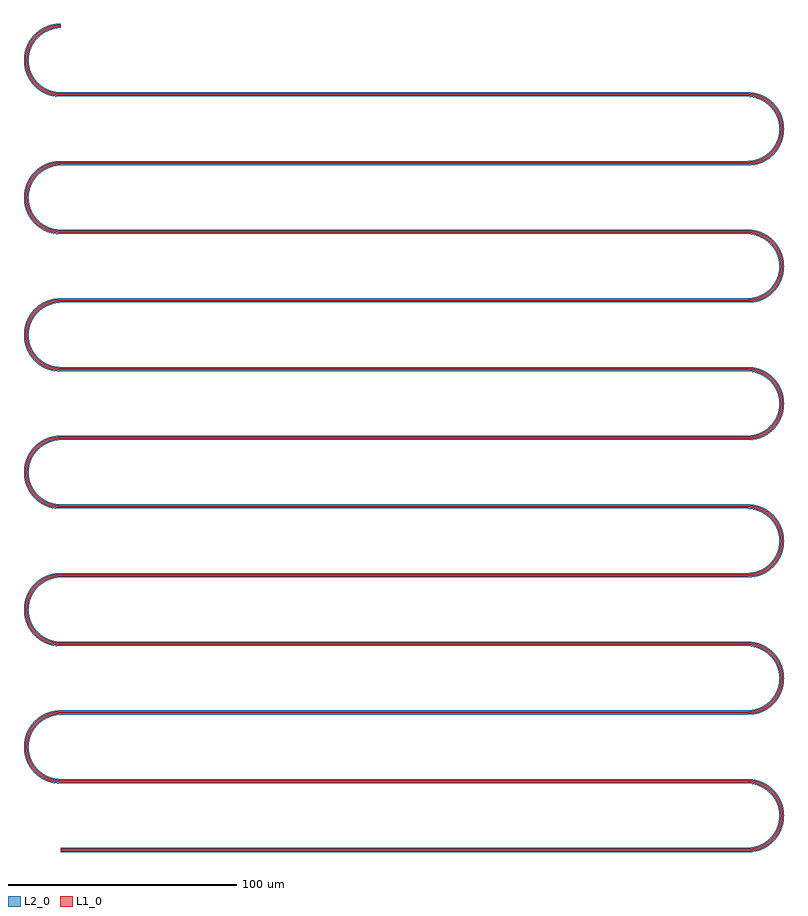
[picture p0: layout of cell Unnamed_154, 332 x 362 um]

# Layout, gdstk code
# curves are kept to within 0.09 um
import gdstk
lib = gdstk.Library(unit=1e-6, precision=1e-09)
def P(c, l, *ps):  # polygons
    for p in ps: c.add(gdstk.Polygon(p, *l))
L1_0 = (1, 0)
L2_0 = (2, 0)

unnamed_154 = lib.new_cell('Unnamed_154')
P(unnamed_154, L1_0, [(0,-0.5),(0,0.5),(300.091,0.5),(301.729,0.603),(303.388,0.901),(305.848,1.731),(307.968,2.885),(309.934,4.437),(311.631,6.341),(312.927,8.431),(313.878,10.798),(314.383,13.158),(314.483,15.706),(314.175,18.055),(313.403,20.533),(312.251,22.757),(310.733,24.75),(308.823,26.507),(306.751,27.833),(304.442,28.803),(302.09,29.349),(300.091,29.5),(-0.828,29.522),(-3.953,30.012),(-6.913,31.127),(-8.395,31.97),(-9.661,32.879),(-10.865,33.945),(-11.952,35.13),(-12.937,36.462),(-13.729,37.805),(-14.418,39.311),(-14.93,40.835),(-15.465,43.953),(-15.492,45.512),(-15.335,47.259),(-14.671,50.003),(-13.591,52.453),(-12.136,54.642),(-10.332,56.555),(-8.148,58.186),(-5.847,59.355),(-3.337,60.137),(-0.731,60.483),(301.184,60.548),(303.918,61.039),(306.508,62.042),(308.823,63.493),(310.855,65.386),(312.442,67.553),(313.618,70.019),(314.318,72.707),(314.494,75.433),(314.175,78.055),(313.368,80.617),(312.052,83.063),(310.357,85.148),(308.308,86.884),(305.931,88.232),(303.388,89.099),(300.729,89.482),(-0.097,89.5),(-2.764,89.748),(304.769,89.748),(306.562,89.043),(308.395,88.03),(309.926,86.905),(311.341,85.566),(312.52,84.138),(313.591,82.453),(314.454,80.598),(315.054,78.693),(315.362,77.065),(315.496,75.366),(315.438,73.613),(315.202,71.973),(314.271,68.95),(313.52,67.419),(312.634,66.02),(311.668,64.796),(310.44,63.543),(309.119,62.466),(307.729,61.564),(306.251,60.816),(304.702,60.23),(303.051,59.803),(301.412,59.564),(-0.547,59.49),(-3.077,59.17),(-5.47,58.429),(-7.738,57.263),(-9.699,55.779),(-11.409,53.949),(-12.758,51.892),(-13.768,49.55),(-14.352,47.068),(-14.467,44.02),(-13.955,41.06),(-12.843,38.269),(-11.21,35.802),(-9.038,33.661),(-6.508,32.042),(-3.698,30.979),(-0.729,30.518),(300.097,30.5),(302.331,30.324),(304.841,29.725),(307.346,28.649),(309.547,27.211),(311.506,25.386),(313.147,23.21),(314.346,20.87),(315.121,18.408),(315.482,15.755),(315.387,13.128),(314.821,10.461),(313.818,7.978),(312.404,5.705),(310.548,3.642),(308.477,2.023),(306.162,0.777),(303.717,-0.048),(301.945,-0.378),(300.097,-0.5)],
  [(-2.764,89.748),(-5.393,90.468),(-7.813,91.613),(-10.038,93.189),(-11.983,95.168),(-13.544,97.462),(-14.671,99.997),(-15.313,102.597),(-15.496,105.366),(-15.192,108.075),(-14.346,110.87),(-13.147,113.21),(-11.506,115.386),(-9.547,117.211),(-7.26,118.695),(-4.702,119.77),(-2.09,120.359),(-0.097,120.5),(300.729,120.518),(303.433,120.912),(306.056,121.825),(308.456,123.221),(310.547,125.049),(312.251,127.243),(313.505,129.721),(314.264,132.392),(314.499,135.205),(314.203,137.921),(313.403,140.533),(312.152,142.911),(310.453,145.05),(308.382,146.832),(305.973,148.213),(303.388,149.099),(300.729,149.482),(-0.097,149.5),(-2.09,149.641),(-4.702,150.23),(-7.13,151.237),(-9.431,152.699),(-11.341,154.434),(-13.017,156.585),(-14.271,158.95),(-15.088,161.449),(-15.477,164.147),(-15.404,166.727),(-14.877,169.352),(-13.906,171.847),(-12.491,174.178),(-10.76,176.157),(-8.72,177.815),(-6.429,179.104),(-3.906,180),(303.906,180),(302.09,179.641),(300.097,179.5),(-0.82,179.477),(-2.361,179.307),(-3.918,178.961),(-5.47,178.429),(-6.912,177.747),(-8.308,176.884),(-9.563,175.9),(-10.733,174.75),(-11.739,173.512),(-12.67,172.052),(-13.368,170.617),(-13.891,169.159),(-14.264,167.608),(-14.464,166.025),(-14.491,164.476),(-14.339,162.842),(-14.015,161.28),(-13.278,159.173),(-12.152,157.089),(-10.733,155.25),(-9.038,153.661),(-7.072,152.341),(-4.959,151.374),(-2.72,150.757),(-0.547,150.51),(301.169,150.456),(303.717,150.048),(306.162,149.223),(308.477,147.977),(310.548,146.358),(312.345,144.373),(313.729,142.195),(314.732,139.818),(315.335,137.259),(315.477,134.147),(314.994,131.071),(313.906,128.153),(313.147,126.79),(312.196,125.434),(310.038,123.189),(308.72,122.185),(307.346,121.351),(304.469,120.158),(301.412,119.564),(-0.547,119.49),(-2.988,119.189),(-5.215,118.53),(-7.427,117.454),(-9.32,116.108),(-10.975,114.477),(-12.395,112.525),(-13.488,110.322),(-14.175,108.055),(-14.5,105.114),(-14.42,103.475),(-14.175,101.945),(-13.739,100.363),(-13.146,98.882),(-12.395,97.475),(-11.549,96.232),(-10.516,95.016),(-9.39,93.951),(-8.082,92.961),(-6.751,92.167),(-3.918,91.039),(-2.361,90.693),(-0.82,90.523),(300.097,90.5),(302.427,90.309),(304.769,89.748)],
  [(-3.906,180),(-2.09,180.359),(-0.097,180.5),(300.091,180.5),(301.729,180.603),(303.3,180.88),(305.596,181.623),(307.93,182.86),(309.901,184.406),(311.549,186.232),(312.927,188.431),(313.824,190.623),(314.365,193.023),(314.491,195.524),(314.175,198.055),(313.488,200.322),(312.395,202.525),(310.855,204.614),(309.038,206.339),(306.912,207.747),(304.528,208.775),(302.09,209.349),(300.091,209.5),(-0.828,209.522),(-3.953,210.012),(-6.913,211.127),(-8.395,211.97),(-9.661,212.879),(-10.865,213.945),(-11.952,215.13),(-12.937,216.462),(-13.729,217.805),(-14.418,219.311),(-14.93,220.835),(-15.465,223.953),(-15.492,225.512),(-15.335,227.259),(-14.671,230.003),(-13.591,232.453),(-12.136,234.642),(-10.332,236.555),(-8.148,238.186),(-5.847,239.355),(-3.337,240.137),(-0.731,240.483),(301.184,240.548),(303.918,241.039),(306.344,241.961),(308.714,243.41),(310.733,245.25),(312.371,247.436),(313.538,249.806),(314.264,252.392),(314.5,255.114),(314.203,257.921),(313.403,260.533),(312.152,262.911),(310.453,265.05),(308.382,266.832),(305.973,268.213),(303.388,269.099),(300.729,269.482),(-0.097,269.5),(-2.427,269.691),(-4.769,270.252),(302.764,270.252),(304.841,269.725),(306.913,268.873),(308.84,267.732),(310.548,266.358),(312.075,264.718),(313.35,262.876),(314.346,260.87),(315.054,258.693),(315.362,257.065),(315.496,255.366),(315.438,253.613),(315.202,251.973),(314.271,248.95),(313.52,247.419),(312.634,246.02),(311.668,244.796),(310.44,243.543),(309.119,242.466),(307.729,241.564),(306.251,240.816),(304.702,240.23),(303.051,239.803),(301.412,239.564),(-0.547,239.49),(-3.077,239.17),(-5.47,238.429),(-7.738,237.263),(-9.699,235.779),(-11.409,233.949),(-12.801,231.811),(-13.782,229.507),(-14.365,226.977),(-14.464,223.975),(-13.955,221.06),(-12.843,218.269),(-11.21,215.802),(-9.038,213.661),(-6.508,212.042),(-3.698,210.979),(-0.729,210.518),(300.097,210.5),(302.331,210.324),(304.841,209.725),(307.346,208.649),(309.547,207.211),(311.506,205.386),(313.017,203.415),(314.29,201.005),(315.11,198.456),(315.477,195.853),(315.404,193.273),(314.877,190.648),(313.906,188.153),(312.491,185.822),(310.76,183.843),(308.72,182.185),(306.429,180.896),(303.906,180)],
  [(-4.769,270.252),(-7.26,271.305),(-9.431,272.699),(-11.341,274.434),(-12.937,276.462),(-14.213,278.816),(-15.054,281.307),(-15.458,283.856),(-15.438,286.387),(-14.994,288.929),(-14.094,291.451),(-12.801,293.74),(-11.14,295.778),(-9.315,297.389),(-7.087,298.785),(-4.702,299.77),(-2.09,300.359),(-0.097,300.5),(300.729,300.518),(303.388,300.901),(305.931,301.768),(308.308,303.116),(310.357,304.852),(312.052,306.937),(313.368,309.383),(314.175,311.945),(314.494,314.567),(314.318,317.293),(313.602,320.024),(312.395,322.525),(310.64,324.851),(308.604,326.672),(306.138,328.137),(303.61,329.044),(300.729,329.482),(-0.097,329.5),(-2.09,329.641),(-4.841,330.275),(-7.346,331.351),(-9.661,332.879),(-11.668,334.796),(-13.25,336.956),(-14.489,339.493),(-15.256,342.26),(-15.5,344.878),(-15.265,347.692),(-14.574,350.278),(-13.448,352.708),(-11.827,355.019),(-9.851,356.967),(-7.602,358.508),(-5.026,359.663),(-2.331,360.324),(0,360.5),(0,359.5),(-1.729,359.397),(-3.3,359.12),(-4.831,358.672),(-6.344,358.039),(-7.815,357.214),(-9.145,356.253),(-10.357,355.148),(-11.409,353.949),(-12.758,351.892),(-13.739,349.637),(-14.318,347.293),(-14.499,344.795),(-14.23,342.213),(-13.538,339.806),(-12.395,337.475),(-10.855,335.386),(-8.967,333.605),(-6.751,332.167),(-4.355,331.169),(-1.955,330.632),(-0.091,330.5),(300.731,330.483),(303.337,330.137),(305.847,329.355),(308.148,328.186),(310.332,326.555),(312.136,324.642),(313.591,322.453),(314.671,320.003),(315.335,317.259),(315.482,315.755),(315.477,314.147),(315.313,312.597),(314.994,311.071),(314.523,309.584),(313.906,308.153),(313.147,306.79),(312.196,305.434),(311.14,304.222),(310.038,303.189),(308.72,302.185),(307.346,301.351),(305.937,300.682),(304.469,300.158),(302.955,299.784),(301.412,299.564),(-0.547,299.49),(-2.72,299.243),(-4.959,298.626),(-7.072,297.659),(-9.038,296.339),(-10.733,294.75),(-12.152,292.911),(-13.278,290.827),(-14.015,288.72),(-14.339,287.158),(-14.491,285.524),(-14.464,283.975),(-14.264,282.392),(-13.891,280.841),(-13.368,279.383),(-12.67,277.948),(-11.739,276.488),(-10.733,275.25),(-9.563,274.1),(-8.308,273.116),(-6.912,272.253),(-5.47,271.571),(-3.918,271.039),(-2.361,270.693),(-0.82,270.523),(300.097,270.5),(302.764,270.252)])
P(unnamed_154, L2_0, [(0,-1),(0,1),(300.088,1),(301.713,1.105),(303.357,1.408),(305.606,2.171),(307.73,3.327),(309.655,4.862),(311.256,6.675),(312.521,8.736),(313.412,10.985),(313.898,13.309),(313.979,15.77),(313.648,18.121),(312.907,20.424),(311.805,22.527),(310.363,24.414),(308.588,26.057),(306.557,27.37),(304.372,28.3),(302.018,28.854),(300.088,29),(-0.805,29.02),(-4.032,29.516),(-7.136,30.679),(-9.934,32.457),(-12.305,34.773),(-14.172,37.573),(-15.412,40.701),(-15.967,43.969),(-15.844,47.232),(-15.208,49.973),(-14.125,52.516),(-12.621,54.835),(-10.74,56.86),(-8.496,58.558),(-6.129,59.78),(-3.445,60.625),(-0.654,60.987),(301.187,61.05),(303.698,61.497),(306.244,62.469),(308.448,63.836),(310.422,65.652),(312.013,67.81),(313.163,70.232),(313.831,72.829),(313.991,75.506),(313.648,78.121),(312.838,80.586),(311.537,82.931),(309.814,84.985),(307.803,86.624),(305.525,87.864),(303.014,88.672),(300.484,88.992),(-0.101,89),(-2.007,89.126),(-3.983,89.504),(306.756,89.504),(308.325,88.664),(309.775,87.667),(311.035,86.586),(312.305,85.227),(313.382,83.771),(314.287,82.203),(314.992,80.59),(315.503,78.959),(315.844,77.232),(315.99,75.579),(315.953,73.768),(315.73,72.073),(315.328,70.411),(314.751,68.802),(314.005,67.263),(313.099,65.812),(312.011,64.429),(310.74,63.14),(308.022,61.156),(306.499,60.379),(304.901,59.769),(303.297,59.343),(301.457,59.066),(-0.484,58.992),(-2.885,58.7),(-5.2,57.999),(-7.396,56.887),(-9.365,55.407),(-10.989,53.675),(-12.318,51.654),(-13.307,49.351),(-13.851,47.04),(-13.974,44.142),(-13.509,41.323),(-12.441,38.579),(-10.879,36.188),(-8.761,34.08),(-6.323,32.509),(-3.613,31.474),(-0.792,31.022),(300.101,31),(302.356,30.826),(304.997,30.2),(307.494,29.137),(309.775,27.667),(311.809,25.796),(313.437,23.687),(314.751,21.198),(315.575,18.665),(315.976,15.88),(315.895,13.168),(315.328,10.411),(314.332,7.887),(312.894,5.526),(311.035,3.414),(308.96,1.744),(306.499,0.379),(303.934,-0.509),(302.007,-0.874),(300.101,-1)],
  [(-3.983,89.504),(-6.59,90.42),(-9.043,91.8),(-11.18,93.554),(-12.894,95.526),(-14.332,97.887),(-15.328,100.411),(-15.895,103.168),(-15.976,105.88),(-15.575,108.665),(-14.751,111.198),(-13.437,113.687),(-11.809,115.796),(-9.775,117.667),(-7.494,119.137),(-4.997,120.2),(-2.356,120.826),(-0.101,121),(300.484,121.008),(303.229,121.377),(305.767,122.243),(308.165,123.627),(310.123,125.329),(311.805,127.473),(313.007,129.821),(313.772,132.482),(313.999,135.198),(313.722,137.777),(312.941,140.342),(311.685,142.712),(310.062,144.735),(307.949,146.525),(305.606,147.829),(303.143,148.643),(300.484,148.992),(-0.101,149),(-2.257,149.16),(-4.901,149.769),(-7.271,150.747),(-9.575,152.181),(-11.569,153.947),(-13.214,155.978),(-14.527,158.295),(-15.412,160.701),(-15.917,163.368),(-15.967,166.031),(-15.575,168.665),(-14.751,171.198),(-13.598,173.432),(-12.011,175.571),(-10.052,177.449),(-7.935,178.894),(-5.567,180),(305.567,180),(302.853,179.256),(300.101,179),(-0.792,178.978),(-3.698,178.503),(-6.557,177.37),(-9.167,175.582),(-11.23,173.36),(-12.058,172.114),(-12.838,170.586),(-13.722,167.777),(-13.999,164.802),(-13.618,161.75),(-12.907,159.576),(-11.805,157.473),(-10.422,155.652),(-8.829,154.135),(-6.866,152.799),(-4.83,151.859),(-2.626,151.248),(-0.484,151.008),(301.257,150.951),(303.934,150.509),(306.499,149.621),(308.792,148.368),(310.925,146.69),(312.774,144.635),(314.172,142.427),(315.208,139.973),(315.822,137.381),(315.976,134.12),(315.465,130.895),(314.332,127.887),(312.621,125.165),(310.4,122.841),(307.759,121.007),(306.222,120.259),(304.613,119.679),(301.457,119.066),(-0.484,118.992),(-2.885,118.7),(-5.2,117.999),(-7.322,116.933),(-9.167,115.582),(-10.879,113.812),(-12.168,111.924),(-13.118,109.892),(-13.756,107.604),(-13.994,104.582),(-13.597,101.664),(-12.599,98.894),(-10.989,96.325),(-8.999,94.275),(-6.479,92.589),(-3.698,91.497),(-0.792,91.022),(300.101,91),(301.808,90.898),(303.592,90.592),(306.756,89.504)],
  [(-5.567,180),(-2.853,180.744),(-0.101,181),(300.088,181),(303.229,181.377),(305.606,182.171),(307.73,183.327),(309.495,184.712),(311.124,186.499),(312.421,188.54),(313.334,190.732),(313.875,193.134),(313.991,195.506),(313.686,197.95),(312.974,200.261),(311.805,202.527),(310.363,204.414),(308.588,206.057),(306.557,207.37),(304.372,208.3),(302.018,208.854),(300.088,209),(-0.805,209.02),(-4.032,209.516),(-7.136,210.679),(-9.934,212.457),(-12.305,214.773),(-14.172,217.573),(-15.412,220.701),(-15.967,223.969),(-15.844,227.232),(-15.208,229.973),(-14.125,232.516),(-12.621,234.835),(-10.74,236.86),(-8.496,238.558),(-6.129,239.78),(-3.445,240.625),(-0.654,240.987),(301.187,241.05),(303.698,241.497),(306.244,242.469),(308.378,243.783),(310.363,245.586),(311.898,247.622),(313.087,250.026),(313.78,252.526),(313.999,255.198),(313.722,257.777),(312.941,260.342),(311.685,262.712),(310.062,264.735),(308.165,266.373),(305.847,267.721),(303.357,268.592),(300.792,268.978),(-0.101,269),(-1.808,269.102),(-3.592,269.408),(-6.773,270.504),(303.953,270.504),(306.036,269.818),(307.935,268.894),(309.775,267.667),(311.323,266.305),(312.774,264.635),(313.906,262.913),(314.865,260.919),(315.503,258.959),(315.844,257.232),(315.99,255.579),(315.953,253.768),(315.73,252.073),(315.328,250.411),(314.751,248.802),(314.005,247.263),(313.099,245.812),(312.011,244.429),(310.74,243.14),(308.022,241.156),(306.499,240.379),(304.901,239.769),(303.297,239.343),(301.457,239.066),(-0.484,238.992),(-2.885,238.7),(-5.2,237.999),(-7.471,236.84),(-9.43,235.348),(-11.124,233.501),(-12.421,231.46),(-13.334,229.268),(-13.898,226.691),(-13.948,223.791),(-13.437,221.069),(-12.38,218.462),(-10.739,216.018),(-8.692,214.025),(-6.244,212.469),(-3.613,211.474),(-0.792,211.022),(300.101,211),(302.356,210.826),(304.997,210.2),(307.36,209.207),(309.575,207.819),(311.569,206.053),(313.214,204.022),(314.527,201.705),(315.412,199.299),(315.917,196.632),(315.967,193.969),(315.575,191.335),(314.751,188.802),(313.598,186.568),(312.011,184.429),(310.052,182.551),(307.935,181.106),(305.567,180)],
  [(-6.773,270.504),(-9.043,271.8),(-11.035,273.414),(-12.774,275.365),(-14.125,277.484),(-15.144,279.836),(-15.766,282.271),(-16,284.874),(-15.807,287.481),(-15.208,289.973),(-14.218,292.338),(-12.894,294.474),(-11.18,296.446),(-9.167,298.114),(-7.046,299.365),(-4.613,300.321),(-2.107,300.861),(-0.101,301),(300.484,301.008),(303.014,301.328),(305.525,302.136),(307.803,303.376),(309.814,305.015),(311.462,306.961),(312.73,309.173),(313.597,311.664),(313.979,314.23),(313.851,317.04),(313.208,319.643),(312.013,322.19),(310.363,324.414),(308.343,326.243),(305.927,327.684),(303.357,328.592),(300.792,328.978),(-0.101,329),(-2.356,329.174),(-4.997,329.8),(-7.583,330.911),(-9.934,332.457),(-12.011,334.429),(-13.755,336.826),(-14.956,339.315),(-15.721,342.024),(-16,344.874),(-15.766,347.729),(-15.044,350.449),(-13.806,353.087),(-12.143,355.419),(-10.052,357.449),(-7.759,358.993),(-5.188,360.136),(-2.356,360.826),(0,361),(0,359),(-2.712,358.735),(-5.363,357.932),(-7.803,356.624),(-9.938,354.861),(-11.685,352.712),(-12.974,350.261),(-13.756,347.604),(-13.999,344.802),(-13.722,342.223),(-13.007,339.821),(-11.898,337.622),(-10.422,335.652),(-8.588,333.943),(-6.557,332.63),(-4.205,331.646),(-1.844,331.122),(-0.088,331),(300.654,330.987),(303.445,330.625),(306.129,329.78),(308.496,328.558),(310.74,326.86),(312.621,324.835),(314.125,322.516),(315.208,319.973),(315.844,317.232),(315.967,313.969),(315.452,310.847),(314.287,307.797),(312.496,305.007),(310.285,302.743),(307.494,300.863),(304.613,299.679),(301.457,299.066),(-0.484,298.992),(-2.626,298.752),(-4.83,298.141),(-6.866,297.201),(-8.761,295.92),(-10.363,294.414),(-11.805,292.527),(-12.838,290.586),(-13.576,288.421),(-13.994,285.418),(-13.739,282.309),(-12.838,279.414),(-11.256,276.675),(-9.167,274.418),(-6.635,272.672),(-3.783,271.521),(-0.792,271.022),(300.101,271),(302.007,270.874),(303.953,270.504)],
  [(0,-1),(0,1),(300.088,1),(301.713,1.105),(303.357,1.408),(305.606,2.171),(307.73,3.327),(309.655,4.862),(311.256,6.675),(312.521,8.736),(313.412,10.985),(313.898,13.309),(313.979,15.77),(313.648,18.121),(312.907,20.424),(311.805,22.527),(310.363,24.414),(308.588,26.057),(306.557,27.37),(304.372,28.3),(302.018,28.854),(300.088,29),(-0.805,29.02),(-4.032,29.516),(-7.136,30.679),(-9.934,32.457),(-12.305,34.773),(-14.172,37.573),(-15.412,40.701),(-15.967,43.969),(-15.844,47.232),(-15.208,49.973),(-14.125,52.516),(-12.621,54.835),(-10.74,56.86),(-8.496,58.558),(-6.129,59.78),(-3.445,60.625),(-0.654,60.987),(301.187,61.05),(303.698,61.497),(306.244,62.469),(308.448,63.836),(310.422,65.652),(312.013,67.81),(313.163,70.232),(313.831,72.829),(313.991,75.506),(313.648,78.121),(312.838,80.586),(311.537,82.931),(309.814,84.985),(307.803,86.624),(305.525,87.864),(303.014,88.672),(300.484,88.992),(-0.101,89),(-2.007,89.126),(-3.983,89.504),(306.756,89.504),(308.325,88.664),(309.775,87.667),(311.035,86.586),(312.305,85.227),(313.382,83.771),(314.287,82.203),(314.992,80.59),(315.503,78.959),(315.844,77.232),(315.99,75.579),(315.953,73.768),(315.73,72.073),(315.328,70.411),(314.751,68.802),(314.005,67.263),(313.099,65.812),(312.011,64.429),(310.74,63.14),(308.022,61.156),(306.499,60.379),(304.901,59.769),(303.297,59.343),(301.457,59.066),(-0.484,58.992),(-2.885,58.7),(-5.2,57.999),(-7.396,56.887),(-9.365,55.407),(-10.989,53.675),(-12.318,51.654),(-13.307,49.351),(-13.851,47.04),(-13.974,44.142),(-13.509,41.323),(-12.441,38.579),(-10.879,36.188),(-8.761,34.08),(-6.323,32.509),(-3.613,31.474),(-0.792,31.022),(300.101,31),(302.356,30.826),(304.997,30.2),(307.494,29.137),(309.775,27.667),(311.809,25.796),(313.437,23.687),(314.751,21.198),(315.575,18.665),(315.976,15.88),(315.895,13.168),(315.328,10.411),(314.332,7.887),(312.894,5.526),(311.035,3.414),(308.96,1.744),(306.499,0.379),(303.934,-0.509),(302.007,-0.874),(300.101,-1)],
  [(-3.983,89.504),(-6.59,90.42),(-9.043,91.8),(-11.18,93.554),(-12.894,95.526),(-14.332,97.887),(-15.328,100.411),(-15.895,103.168),(-15.976,105.88),(-15.575,108.665),(-14.751,111.198),(-13.437,113.687),(-11.809,115.796),(-9.775,117.667),(-7.494,119.137),(-4.997,120.2),(-2.356,120.826),(-0.101,121),(300.484,121.008),(303.229,121.377),(305.767,122.243),(308.165,123.627),(310.123,125.329),(311.805,127.473),(313.007,129.821),(313.772,132.482),(313.999,135.198),(313.722,137.777),(312.941,140.342),(311.685,142.712),(310.062,144.735),(307.949,146.525),(305.606,147.829),(303.143,148.643),(300.484,148.992),(-0.101,149),(-2.257,149.16),(-4.901,149.769),(-7.271,150.747),(-9.575,152.181),(-11.569,153.947),(-13.214,155.978),(-14.527,158.295),(-15.412,160.701),(-15.917,163.368),(-15.967,166.031),(-15.575,168.665),(-14.751,171.198),(-13.598,173.432),(-12.011,175.571),(-10.052,177.449),(-7.935,178.894),(-5.567,180),(305.567,180),(302.853,179.256),(300.101,179),(-0.792,178.978),(-3.698,178.503),(-6.557,177.37),(-9.167,175.582),(-11.23,173.36),(-12.058,172.114),(-12.838,170.586),(-13.722,167.777),(-13.999,164.802),(-13.618,161.75),(-12.907,159.576),(-11.805,157.473),(-10.422,155.652),(-8.829,154.135),(-6.866,152.799),(-4.83,151.859),(-2.626,151.248),(-0.484,151.008),(301.257,150.951),(303.934,150.509),(306.499,149.621),(308.792,148.368),(310.925,146.69),(312.774,144.635),(314.172,142.427),(315.208,139.973),(315.822,137.381),(315.976,134.12),(315.465,130.895),(314.332,127.887),(312.621,125.165),(310.4,122.841),(307.759,121.007),(306.222,120.259),(304.613,119.679),(301.457,119.066),(-0.484,118.992),(-2.885,118.7),(-5.2,117.999),(-7.322,116.933),(-9.167,115.582),(-10.879,113.812),(-12.168,111.924),(-13.118,109.892),(-13.756,107.604),(-13.994,104.582),(-13.597,101.664),(-12.599,98.894),(-10.989,96.325),(-8.999,94.275),(-6.479,92.589),(-3.698,91.497),(-0.792,91.022),(300.101,91),(301.808,90.898),(303.592,90.592),(306.756,89.504)],
  [(-5.567,180),(-2.853,180.744),(-0.101,181),(300.088,181),(303.229,181.377),(305.606,182.171),(307.73,183.327),(309.495,184.712),(311.124,186.499),(312.421,188.54),(313.334,190.732),(313.875,193.134),(313.991,195.506),(313.686,197.95),(312.974,200.261),(311.805,202.527),(310.363,204.414),(308.588,206.057),(306.557,207.37),(304.372,208.3),(302.018,208.854),(300.088,209),(-0.805,209.02),(-4.032,209.516),(-7.136,210.679),(-9.934,212.457),(-12.305,214.773),(-14.172,217.573),(-15.412,220.701),(-15.967,223.969),(-15.844,227.232),(-15.208,229.973),(-14.125,232.516),(-12.621,234.835),(-10.74,236.86),(-8.496,238.558),(-6.129,239.78),(-3.445,240.625),(-0.654,240.987),(301.187,241.05),(303.698,241.497),(306.244,242.469),(308.378,243.783),(310.363,245.586),(311.898,247.622),(313.087,250.026),(313.78,252.526),(313.999,255.198),(313.722,257.777),(312.941,260.342),(311.685,262.712),(310.062,264.735),(308.165,266.373),(305.847,267.721),(303.357,268.592),(300.792,268.978),(-0.101,269),(-1.808,269.102),(-3.592,269.408),(-6.773,270.504),(303.953,270.504),(306.036,269.818),(307.935,268.894),(309.775,267.667),(311.323,266.305),(312.774,264.635),(313.906,262.913),(314.865,260.919),(315.503,258.959),(315.844,257.232),(315.99,255.579),(315.953,253.768),(315.73,252.073),(315.328,250.411),(314.751,248.802),(314.005,247.263),(313.099,245.812),(312.011,244.429),(310.74,243.14),(308.022,241.156),(306.499,240.379),(304.901,239.769),(303.297,239.343),(301.457,239.066),(-0.484,238.992),(-2.885,238.7),(-5.2,237.999),(-7.471,236.84),(-9.43,235.348),(-11.124,233.501),(-12.421,231.46),(-13.334,229.268),(-13.898,226.691),(-13.948,223.791),(-13.437,221.069),(-12.38,218.462),(-10.739,216.018),(-8.692,214.025),(-6.244,212.469),(-3.613,211.474),(-0.792,211.022),(300.101,211),(302.356,210.826),(304.997,210.2),(307.36,209.207),(309.575,207.819),(311.569,206.053),(313.214,204.022),(314.527,201.705),(315.412,199.299),(315.917,196.632),(315.967,193.969),(315.575,191.335),(314.751,188.802),(313.598,186.568),(312.011,184.429),(310.052,182.551),(307.935,181.106),(305.567,180)],
  [(-6.773,270.504),(-9.043,271.8),(-11.035,273.414),(-12.774,275.365),(-14.125,277.484),(-15.144,279.836),(-15.766,282.271),(-16,284.874),(-15.807,287.481),(-15.208,289.973),(-14.218,292.338),(-12.894,294.474),(-11.18,296.446),(-9.167,298.114),(-7.046,299.365),(-4.613,300.321),(-2.107,300.861),(-0.101,301),(300.484,301.008),(303.014,301.328),(305.525,302.136),(307.803,303.376),(309.814,305.015),(311.462,306.961),(312.73,309.173),(313.597,311.664),(313.979,314.23),(313.851,317.04),(313.208,319.643),(312.013,322.19),(310.363,324.414),(308.343,326.243),(305.927,327.684),(303.357,328.592),(300.792,328.978),(-0.101,329),(-2.356,329.174),(-4.997,329.8),(-7.583,330.911),(-9.934,332.457),(-12.011,334.429),(-13.755,336.826),(-14.956,339.315),(-15.721,342.024),(-16,344.874),(-15.766,347.729),(-15.044,350.449),(-13.806,353.087),(-12.143,355.419),(-10.052,357.449),(-7.759,358.993),(-5.188,360.136),(-2.356,360.826),(0,361),(0,359),(-2.712,358.735),(-5.363,357.932),(-7.803,356.624),(-9.938,354.861),(-11.685,352.712),(-12.974,350.261),(-13.756,347.604),(-13.999,344.802),(-13.722,342.223),(-13.007,339.821),(-11.898,337.622),(-10.422,335.652),(-8.588,333.943),(-6.557,332.63),(-4.205,331.646),(-1.844,331.122),(-0.088,331),(300.654,330.987),(303.445,330.625),(306.129,329.78),(308.496,328.558),(310.74,326.86),(312.621,324.835),(314.125,322.516),(315.208,319.973),(315.844,317.232),(315.967,313.969),(315.452,310.847),(314.287,307.797),(312.496,305.007),(310.285,302.743),(307.494,300.863),(304.613,299.679),(301.457,299.066),(-0.484,298.992),(-2.626,298.752),(-4.83,298.141),(-6.866,297.201),(-8.761,295.92),(-10.363,294.414),(-11.805,292.527),(-12.838,290.586),(-13.576,288.421),(-13.994,285.418),(-13.739,282.309),(-12.838,279.414),(-11.256,276.675),(-9.167,274.418),(-6.635,272.672),(-3.783,271.521),(-0.792,271.022),(300.101,271),(302.007,270.874),(303.953,270.504)])

lib.write_gds('Unnamed_154.gds')
